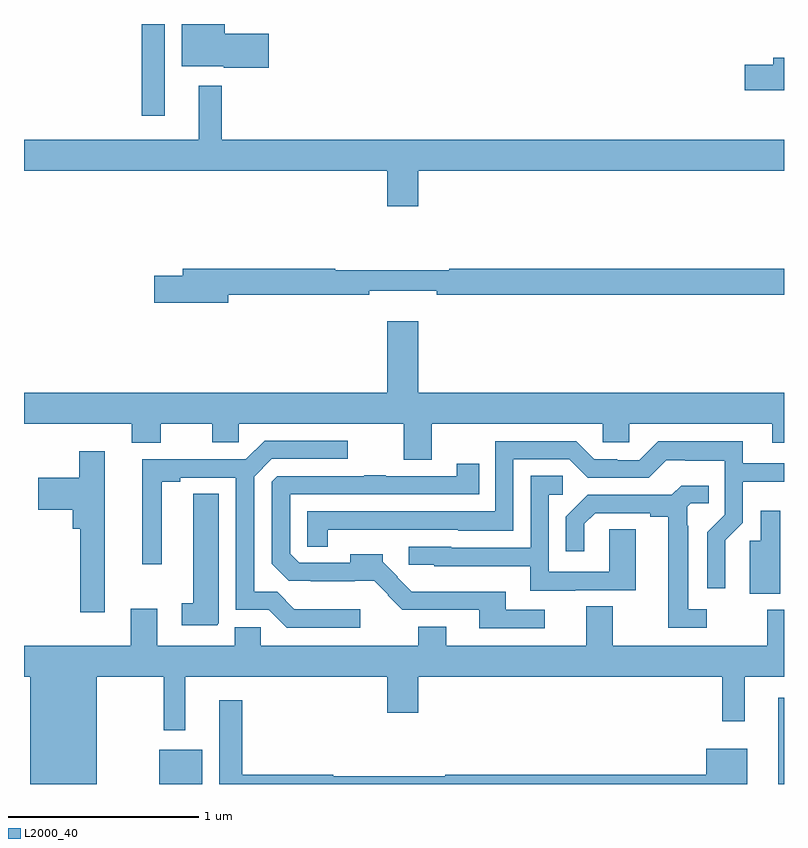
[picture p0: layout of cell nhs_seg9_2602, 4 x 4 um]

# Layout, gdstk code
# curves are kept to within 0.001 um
import gdstk
lib = gdstk.Library(unit=1e-6, precision=1e-09)
def R(c, l, rs):  # rectangles x0, y0, x1, y1
    for r in rs: c.add(gdstk.rectangle(r[:2], r[2:], *l))
def P(c, l, *ps):  # polygons
    for p in ps: c.add(gdstk.Polygon(p, *l))
L2000_40 = (2000, 40)

nhs_seg9_2602 = lib.new_cell('nhs_seg9_2602')
R(nhs_seg9_2602, L2000_40, [(259.712,1218.5,259.939,1218.679), (262.97,1218.5,263,1218.955), (259.62,1222.017,259.741,1222.5)])
P(nhs_seg9_2602, L2000_40, [(260.287,1222.448),(260.056,1222.448),(260.056,1222.5),(259.829,1222.5),(259.829,1222.277),(260.052,1222.277),(260.052,1222.27),(260.287,1222.27)],
  [(263,1222.322),(262.943,1222.322),(262.943,1222.286),(262.794,1222.286),(262.794,1222.151),(263,1222.151)],
  [(261.076,1221.728),(263,1221.728),(263,1221.892),(260.041,1221.892),(260.041,1222.174),(259.919,1222.174),(259.919,1221.892),(259,1221.892),(259,1221.728),(260.912,1221.728),(260.912,1221.54),(261.076,1221.54)],
  [(260.074,1221.076),(260.816,1221.076),(260.816,1221.095),(261.172,1221.095),(261.172,1221.076),(263,1221.076),(263,1221.212),(261.239,1221.212),(261.239,1221.205),(260.639,1221.205),(260.639,1221.212),(259.835,1221.212),(259.835,1221.176),(259.686,1221.176),(259.686,1221.034),(260.074,1221.034)],
  [(261.147,1220.396),(262.047,1220.396),(262.047,1220.298),(262.185,1220.298),(262.185,1220.396),(262.937,1220.396),(262.937,1220.297),(263,1220.297),(263,1220.56),(261.076,1220.56),(261.076,1220.935),(260.912,1220.935),(260.912,1220.56),(259,1220.56),(259,1220.396),(259.568,1220.396),(259.568,1220.297),(259.72,1220.297),(259.72,1220.396),(259.991,1220.396),(259.991,1220.298),(260.13,1220.298),(260.13,1220.396),(260.999,1220.396),(260.999,1220.206),(261.147,1220.206)],
  [(260.77,1219.42),(260.423,1219.42),(260.332,1219.511),(260.211,1219.511),(260.211,1220.118),(260.304,1220.211),(260.704,1220.211),(260.704,1220.307),(260.267,1220.307),(260.168,1220.208),(259.622,1220.208),(259.622,1219.656),(259.726,1219.656),(259.726,1220.092),(259.822,1220.092),(259.822,1220.112),(260.115,1220.112),(260.115,1219.416),(260.289,1219.416),(260.382,1219.323),(260.77,1219.323)],
  [(262.692,1219.676),(262.691,1219.782),(262.782,1219.874),(262.782,1220.09),(263,1220.09),(263,1220.187),(262.783,1220.187),(262.783,1220.305),(262.339,1220.305),(262.239,1220.205),(262.122,1220.205),(262.122,1220.208),(262.002,1220.208),(261.906,1220.304),(261.48,1220.304),(261.48,1219.935),(260.49,1219.935),(260.49,1219.75),(260.599,1219.75),(260.599,1219.838),(261.285,1219.839),(261.285,1219.832),(261.576,1219.832),(261.576,1220.208),(261.87,1220.208),(261.966,1220.112),(262.287,1220.112),(262.38,1220.205),(262.48,1220.205),(262.48,1220.201),(262.689,1220.201),(262.689,1219.917),(262.596,1219.824),(262.596,1219.53),(262.692,1219.53)],
  [(259.426,1220.251),(259.291,1220.251),(259.291,1220.113),(259.074,1220.113),(259.074,1219.943),(259.256,1219.943),(259.256,1219.844),(259.295,1219.844),(259.295,1219.404),(259.426,1219.404)],
  [(261.742,1219.416),(261.535,1219.416),(261.535,1219.513),(261.142,1219.513),(261.142,1219.511),(261.041,1219.511),(260.964,1219.587),(260.967,1219.59),(260.888,1219.669),(260.888,1219.708),(260.717,1219.708),(260.717,1219.665),(260.448,1219.665),(260.4,1219.713),(260.4,1220.025),(261.395,1220.025),(261.395,1220.185),(261.277,1220.185),(261.277,1220.121),(260.903,1220.121),(260.903,1220.126),(260.791,1220.126),(260.791,1220.121),(260.334,1220.121),(260.304,1220.091),(260.304,1219.659),(260.393,1219.57),(260.509,1219.57),(260.509,1219.568),(260.843,1219.569),(260.917,1219.495),(260.915,1219.493),(260.991,1219.416),(261.395,1219.416),(261.395,1219.32),(261.742,1219.32)],
  [(261.901,1219.521),(262.219,1219.521),(262.219,1219.841),(262.08,1219.841),(262.08,1219.617),(261.762,1219.617),(261.762,1220.022),(261.835,1220.022),(261.835,1220.123),(261.666,1220.123),(261.666,1219.743),(261.249,1219.743),(261.249,1219.749),(261.024,1219.749),(261.024,1219.653),(261.159,1219.653),(261.159,1219.646),(261.665,1219.646),(261.665,1219.517),(261.901,1219.517)],
  [(262.594,1219.419),(262.495,1219.419),(262.495,1219.859),(262.491,1219.859),(262.491,1219.959),(262.509,1219.977),(262.604,1219.977),(262.604,1220.069),(262.458,1220.069),(262.41,1220.022),(261.968,1220.022),(261.852,1219.906),(261.852,1219.725),(261.949,1219.725),(261.949,1219.869),(262.006,1219.926),(262.295,1219.926),(262.295,1219.906),(262.391,1219.906),(262.391,1219.323),(262.594,1219.323)],
  [(260.026,1219.345),(260.026,1220.027),(259.892,1220.027),(259.892,1219.451),(259.83,1219.451),(259.83,1219.335),(260.016,1219.335)],
  [(262.981,1219.939),(262.877,1219.939),(262.877,1219.779),(262.82,1219.779),(262.82,1219.501),(262.981,1219.501)],
  [(259.384,1219.064),(259.735,1219.064),(259.735,1218.783),(259.849,1218.783),(259.849,1219.064),(260.912,1219.064),(260.912,1218.876),(261.076,1218.876),(261.076,1219.064),(262.675,1219.064),(262.675,1218.831),(262.793,1218.831),(262.793,1219.064),(263,1219.064),(263,1219.416),(262.912,1219.416),(262.912,1219.228),(262.099,1219.228),(262.099,1219.436),(261.959,1219.436),(261.959,1219.228),(261.223,1219.228),(261.223,1219.327),(261.076,1219.327),(261.076,1219.228),(260.247,1219.228),(260.247,1219.326),(260.108,1219.326),(260.108,1219.228),(259.702,1219.228),(259.702,1219.423),(259.562,1219.423),(259.562,1219.228),(259,1219.228),(259,1219.064),(259.034,1219.064),(259.034,1218.5),(259.384,1218.5)],
  [(262.807,1218.685),(262.592,1218.685),(262.592,1218.548),(261.217,1218.548),(261.217,1218.541),(260.627,1218.541),(260.627,1218.548),(260.149,1218.548),(260.149,1218.94),(260.027,1218.94),(260.027,1218.5),(262.807,1218.5)])

lib.write_gds('nhs_seg9_2602.gds')
